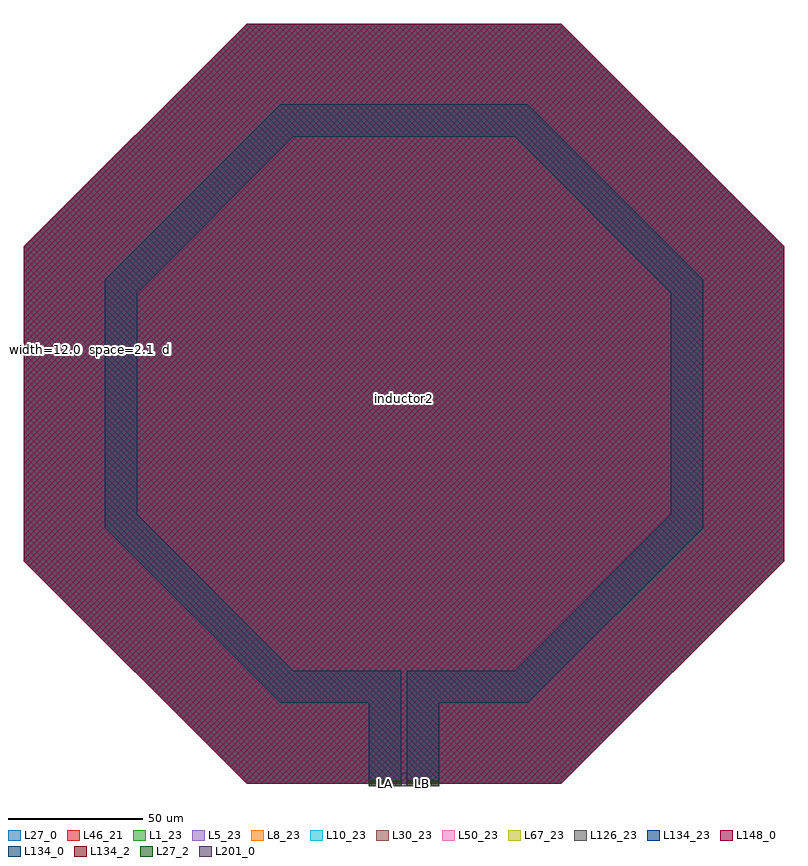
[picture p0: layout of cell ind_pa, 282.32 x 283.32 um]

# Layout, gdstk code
import gdstk
lib = gdstk.Library(unit=1e-6, precision=1e-09)
def R(c, l, rs):  # rectangles x0, y0, x1, y1
    for r in rs: c.add(gdstk.rectangle(r[:2], r[2:], *l))
def P(c, l, *ps):  # polygons
    for p in ps: c.add(gdstk.Polygon(p, *l))
L1_23 = (1, 23)
L5_23 = (5, 23)
L8_23 = (8, 23)
L10_23 = (10, 23)
L27_0 = (27, 0)
L27_2 = (27, 2)
L30_23 = (30, 23)
L46_21 = (46, 21)
L50_23 = (50, 23)
L67_23 = (67, 23)
L126_23 = (126, 23)
L134_0 = (134, 0)
L134_2 = (134, 2)
L134_23 = (134, 23)
L148_0 = (148, 0)
L201_0 = (201, 0)

ind_pa = lib.new_cell('ind_pa')
P(ind_pa, L1_23, [(-58.47,0),(-141.16,82.69),(-141.16,199.63),(-58.47,282.32),(58.47,282.32),(141.16,199.63),(141.16,82.69),(58.47,0)])
P(ind_pa, L5_23, [(-58.47,0),(-141.16,82.69),(-141.16,199.63),(-58.47,282.32),(58.47,282.32),(141.16,199.63),(141.16,82.69),(58.47,0)])
P(ind_pa, L8_23, [(-58.47,0),(-141.16,82.69),(-141.16,199.63),(-58.47,282.32),(58.47,282.32),(141.16,199.63),(141.16,82.69),(58.47,0)])
P(ind_pa, L10_23, [(-58.47,0),(-141.16,82.69),(-141.16,199.63),(-58.47,282.32),(58.47,282.32),(141.16,199.63),(141.16,82.69),(58.47,0)])
P(ind_pa, L27_0, [(-58.47,0),(-141.16,82.69),(-141.16,199.63),(-58.47,282.32),(58.47,282.32),(141.16,199.63),(141.16,82.69),(58.47,0)])
R(ind_pa, L27_2, [(-13.05,-1,-1.05,1), (1.05,-1,13.05,1)])
P(ind_pa, L30_23, [(-58.47,0),(-141.16,82.69),(-141.16,199.63),(-58.47,282.32),(58.47,282.32),(141.16,199.63),(141.16,82.69),(58.47,0)])
P(ind_pa, L46_21, [(-58.47,0),(-141.16,82.69),(-141.16,199.63),(-58.47,282.32),(58.47,282.32),(141.16,199.63),(141.16,82.69),(58.47,0)])
P(ind_pa, L50_23, [(-58.47,0),(-141.16,82.69),(-141.16,199.63),(-58.47,282.32),(58.47,282.32),(141.16,199.63),(141.16,82.69),(58.47,0)])
P(ind_pa, L67_23, [(-58.47,0),(-141.16,82.69),(-141.16,199.63),(-58.47,282.32),(58.47,282.32),(141.16,199.63),(141.16,82.69),(58.47,0)])
P(ind_pa, L126_23, [(-58.47,0),(-141.16,82.69),(-141.16,199.63),(-58.47,282.32),(58.47,282.32),(141.16,199.63),(141.16,82.69),(58.47,0)])
R(ind_pa, L134_0, [(-10.425,240.3,10.425,252.3)])
P(ind_pa, L134_0, [(1.05,30),(1.05,42),(41.065,42),(99.15,100.085),(99.15,182.215),(41.065,240.3),(10.425,240.3),(10.425,252.3),(46.045,252.3),(111.15,187.195),(111.15,95.105),(46.045,30)],
  [(-46.045,30),(-111.15,95.105),(-111.15,187.195),(-46.045,252.3),(-10.425,252.3),(-10.425,240.3),(-41.065,240.3),(-99.15,182.215),(-99.15,100.085),(-41.065,42),(-1.05,42),(-1.05,30)])
R(ind_pa, L134_2, [(-13.05,-1,-1.05,1), (-13.05,-1,-1.05,1), (1.05,-1,13.05,1), (1.05,-1,13.05,1)])
P(ind_pa, L134_23, [(-58.47,0),(-141.16,82.69),(-141.16,199.63),(-58.47,282.32),(58.47,282.32),(141.16,199.63),(141.16,82.69),(58.47,0)])
P(ind_pa, L148_0, [(-58.47,0),(-141.16,82.69),(-141.16,199.63),(-58.47,282.32),(58.47,282.32),(141.16,199.63),(141.16,82.69),(58.47,0)])
R(ind_pa, L201_0, [(-1.05,-1,1.05,4)])
ind_pa.add(gdstk.FlexPath([(7.05,-1),(7.05,42)], 12, ends="flush", simple_path=True, layer=134, datatype=0))  # L134_0
ind_pa.add(gdstk.FlexPath([(-7.05,-1),(-7.05,42)], 12, ends="flush", simple_path=True, layer=134, datatype=0))  # L134_0
ind_pa.add(gdstk.Label('LB', (7.05,0), layer=27, texttype=25))
ind_pa.add(gdstk.Label('LA', (-7.05,0), layer=27, texttype=25))
ind_pa.add(gdstk.Label('inductor2', (0,142.895), layer=63, texttype=0))
ind_pa.add(gdstk.Label('  width=12.0\n  space=2.1\n  diameter=198.30\n  turns=1', (-141.16,161.28), layer=63, texttype=0))

lib.write_gds('ind_pa.gds')
